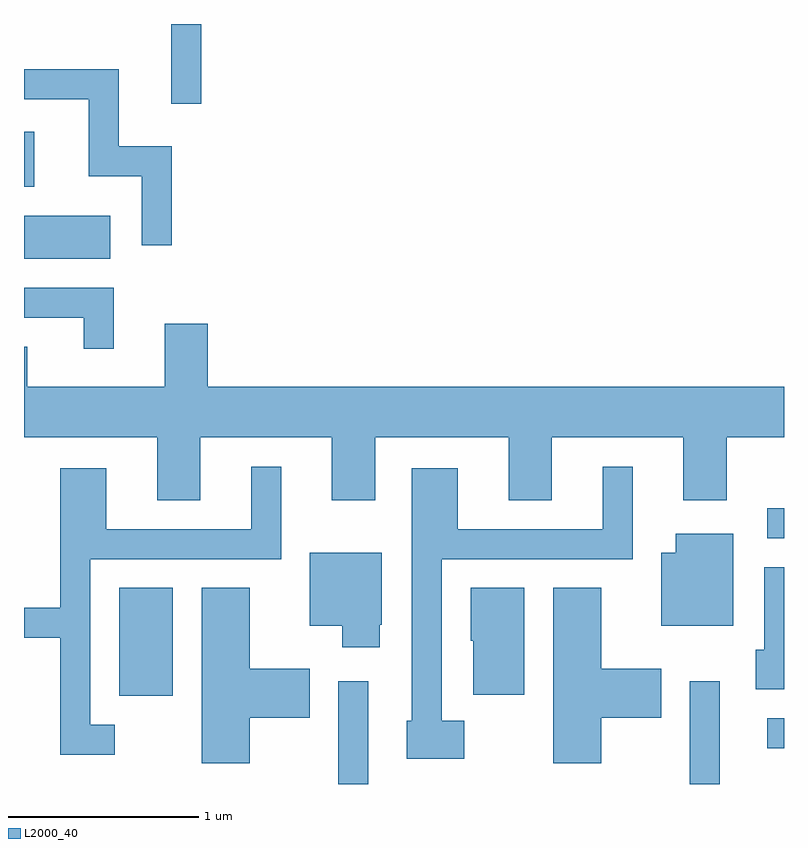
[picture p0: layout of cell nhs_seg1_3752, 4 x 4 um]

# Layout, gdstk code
import gdstk
lib = gdstk.Library(unit=1e-6, precision=1e-09)
def R(c, l, rs):  # rectangles x0, y0, x1, y1
    for r in rs: c.add(gdstk.rectangle(r[:2], r[2:], *l))
def P(c, l, *ps):  # polygons
    for p in ps: c.add(gdstk.Polygon(p, *l))
L2000_40 = (2000, 40)

nhs_seg1_3752 = lib.new_cell('nhs_seg1_3752')
R(nhs_seg1_3752, L2000_40, [(299.266,937.712,299.424,938.253), (301.116,937.712,301.274,938.253), (301.523,937.901,301.611,938.059), (298.111,938.176,298.394,938.744), (301.523,939.006,301.611,939.164), (297.611,940.476,298.064,940.704), (297.611,940.856,297.664,941.144), (298.386,941.293,298.544,941.712)])
P(nhs_seg1_3752, L2000_40, [(298.389,941.069),(298.109,941.069),(298.109,941.474),(297.611,941.474),(297.611,941.316),(297.951,941.316),(297.951,940.911),(298.231,940.911),(298.231,940.548),(298.389,940.548)],
  [(298.084,940.324),(297.611,940.324),(297.611,940.166),(297.926,940.166),(297.926,940.003),(298.084,940.003)],
  [(298.539,939.536),(299.231,939.536),(299.231,939.206),(299.459,939.206),(299.459,939.536),(300.161,939.536),(300.161,939.206),(300.389,939.206),(300.389,939.536),(301.081,939.536),(301.081,939.206),(301.309,939.206),(301.309,939.536),(301.611,939.536),(301.611,939.804),(298.579,939.804),(298.579,940.134),(298.351,940.134),(298.351,939.804),(297.629,939.804),(297.629,940.014),(297.611,940.014),(297.611,939.536),(298.311,939.536),(298.311,939.206),(298.539,939.206)],
  [(298.088,938.024),(297.959,938.024),(297.959,938.896),(298.964,938.896),(298.964,939.383),(298.806,939.383),(298.806,939.054),(298.044,939.054),(298.044,939.374),(297.801,939.374),(297.801,938.639),(297.611,938.639),(297.611,938.481),(297.801,938.481),(297.801,937.866),(298.088,937.866)],
  [(299.929,938.044),(299.809,938.044),(299.809,938.896),(300.814,938.896),(300.814,939.383),(300.656,939.383),(300.656,939.054),(299.894,939.054),(299.894,939.374),(299.651,939.374),(299.651,938.044),(299.626,938.044),(299.626,937.846),(299.929,937.846)],
  [(301.344,939.029),(301.041,939.029),(301.041,938.929),(300.966,938.929),(300.966,938.546),(301.344,938.546)],
  [(299.484,938.55),(299.494,938.55),(299.494,938.929),(299.116,938.929),(299.116,938.546),(299.286,938.546),(299.286,938.431),(299.484,938.431)],
  [(301.611,938.854),(301.506,938.854),(301.506,938.419),(301.461,938.419),(301.461,938.211),(301.611,938.211)],
  [(300.244,938.744),(299.961,938.744),(299.961,938.465),(299.976,938.465),(299.976,938.181),(300.244,938.181)],
  [(300.649,938.061),(300.964,938.061),(300.964,938.319),(300.649,938.319),(300.649,938.744),(300.396,938.744),(300.396,937.821),(300.649,937.821)],
  [(298.799,938.061),(299.114,938.061),(299.114,938.319),(298.799,938.319),(298.799,938.744),(298.546,938.744),(298.546,937.821),(298.799,937.821)])

lib.write_gds('nhs_seg1_3752.gds')
